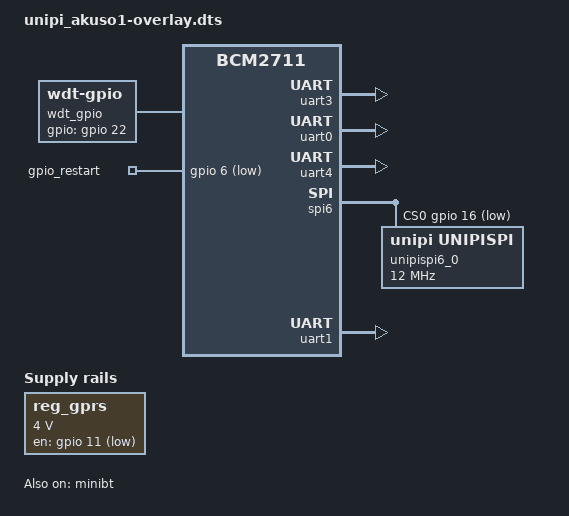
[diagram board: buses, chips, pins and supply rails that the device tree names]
/dts-v1/;
/plugin/;

/{
	compatible = "brcm,bcm2711";

	fragment@0 {
		target = <&uart3>;
		__overlay__ {
			pinctrl-names = "default";
			pinctrl-0 = <&uart3_pins>;
			status = "okay";
			linux,rs485-enabled-at-boot-time;
			uart-has-rtscts;
		};
	};

	fragment@1 {
		target = <&uart3_pins>;
		__overlay__ {
			brcm,pins = <4 5 7>;
			brcm,pull = <0 2 0>;
		};
	};

	fragment@2 {
		target = <&uart0>;
		__overlay__ {
			pinctrl-names = "default";
			pinctrl-0 = <&uart0_pins>, <&uart0_rts_pins>;
			status = "okay";
			linux,rs485-enabled-at-boot-time;
			uart-has-rtscts;
		};
	};

	fragment@3 {
		target = <&gpio>;
		__overlay__ {
			uart0_pins: uart0_ovl_pins {
				brcm,pins = <14 15>;
				brcm,function = <4>; /* alt0 */
				brcm,pull = <0 2>;
			};
			uart0_rts_pins: uart0_rts_ovl_pins {
				brcm,pins = <17>;
				brcm,function = <7>; /* alt3 */
				brcm,pull = <0>;
			};
		};
	};

	fragment@4 {
		target = <&uart4>;
		__overlay__ {
			pinctrl-names = "default";
			pinctrl-0 = <&uart4_pins>;
			status = "okay";
		};
	};

	fragment@5 {
		target = <&uart4_pins>;
		__overlay__ {
			brcm,pins = <8 9>;
			brcm,pull = <0 2>;
		};
	};

	fragment@6 {
		target = <&spi6_cs_pins>;
		__overlay__ {
			brcm,pins = <16 26>;
			brcm,function = <1 0>; // output input
			brcm,pull = <0 0>;
		};
	};

	fragment@7 {
		target = <&spi6>;
		__overlay__ {
			// needed to avoid dtc warning
			#address-cells = <1>;
			#size-cells = <0>;

			pinctrl-names = "default";
			pinctrl-0 = <&spi6_pins &spi6_cs_pins>;
			cs-gpios = <&gpio 16 1>;
			dmas = <&dma 23>, <&dma 27>;
			dma-names = "tx", "rx";
			status = "okay";

			unipispi6_0: unipispi@0 {
				compatible = "unipi,unipispi";
				reg = <0>;      // CE0
				#address-cells = <1>;
				#size-cells = <0>;
				spi-max-frequency = <12000000>;
				modbus-address = <1>;
				status = "okay";
				iogroup1: iogroup@1 {
					reg = <1>;
					compatible = "unipi,unipi-mfd", "iogroup";
					interrupt-parent = <&gpio>;
					interrupts = <26 0x1>;     // IRQ_TYPE_EDGE_RISING
					fw_variant = <0x2D10>;
					fw_name = "OEM-AKUSOLAR-1";
					board_name = "OEM-AKUSOLAR-1";
					cycle_counter = <1023>;
					//master_watchdog_enable = <6>;

					di {
						compatible = "unipi,gpio-di";
						gpio-controller;
						#gpio-cells = <2>;
						gpio-line-names = "DI1", "DI2", "DI3", "DI4";
						ngpio = <4>;
						value-reg = <0>;
						debounce-reg = <1010>;
						counter-reg = <16>;
					};
					do {
						compatible = "unipi,gpio-do";
						ngpio = <4>;
						value-coil = <0>;
						gpio-controller;
						#gpio-cells = <2>;
						gpio-line-names = "DO1", "DO2", "DO3", "DO4";
					};
					ro {
						compatible = "unipi,gpio-ro";
						ngpio = <4>;
						value-coil = <4>;
						gpio-controller;
						#gpio-cells = <2>;
						gpio-line-names = "RO1", "RO2", "RO3", "RO4";
					};
					ao_chip {
						compatible = "unipi,ao";
						io-count = <2>;
						io-value-reg = <10>;
					};
					led {
						compatible = "unipi,leds";
						coil-range = <12 6>;
						label-prefix = "unipi:green:uled-x";
					};
					sysled {
						#address-cells = <1>;
						#size-cells = <0>;
						compatible = "unipi,leds";
						coil-range = <18 9>;
						label-prefix = "unipi:green:sysled-x";
						rs485-1-txled@0 {
							reg = <0>;
							linux,default-trigger = "ttyAMA1-tx";
						};
						rs485-1-rxled@1 {
							reg = <1>;
							linux,default-trigger = "ttyAMA1-rx";
						};
						rs485-2-txled@2 {
							reg = <2>;
							linux,default-trigger = "ttyAMA0-tx";
						};
						rs485-2-rxled@3 {
							reg = <3>;
							linux,default-trigger = "ttyAMA0-rx";
						};
					};

				};
			};
		};
	};

	fragment@8 {
		target = <&gpio>;
		__overlay__ {
			reg_gprs_pins: reg-gprs-pins {
				brcm,pins = <11>;
				brcm,function = <1>; // out
				brcm,pull = <0>; // off
			};
		};
	};

	fragment@9 {
		target-path = "/";
		__overlay__ {
			reg_gprs: regulator-gprs {
				pinctrl-names = "default";
				pinctrl-0 = <&reg_gprs_pins>;
				compatible = "regulator-fixed";
				regulator-name = "vdd_gprs";
				gpio = <&gpio 11 1>;
				//enable-active-low;
				regulator-min-microvolt = <4000000>;
				regulator-max-microvolt = <4000000>;
			};
			unipi-gprs {
				compatible = "unipi-consumer";
				regulator-name = "gprs-consumer";
				regulator-boot-on;
				regulator-supplies = "vdd_gprs";
			};
		};
	};

	fragment@10 {
		target = <&bt>;
		__overlay__ {
			status = "disabled";
		};
	};

	fragment@11 {
		target = <&uart1>;
		__overlay__ {
			pinctrl-names = "default";
			pinctrl-0 = <&uart1_pins &bt_pins &fake_bt_cts>;
			status = "okay";
		};
	};

	fragment@12 {
		target = <&uart1_pins>;
		__overlay__ {
			brcm,pins = <32 33>;
			brcm,function = <2>; /* alt5=UART1 */
			brcm,pull = <0 2>;
			status = "okay";
		};
	};

	fragment@13 {
		target = <&gpio>;
		__overlay__ {
			fake_bt_cts: fake_bt_cts {
				brcm,pins = <31>;
				brcm,function = <1>; /* output */
			};
		};
	};

	fragment@14 {
		target-path = "/aliases";
		__overlay__ {
			serial0 = "/soc/serial@7e201000";
			serial1 = "/soc/serial@7e215040";
		};
	};

	fragment@15 {
		target = <&minibt>;
		__overlay__ {
			status = "okay";
		};
	};

	fragment@16 {
		target-path = "/";
		__overlay__ {
			wdt_gpio: wdt-gpio {
				compatible = "linux,wdt-gpio";
				//always-running;
				hw_margin_ms = <4000>;
				hw_algo = "level";
				pinctrl-names = "default";
				pinctrl-0 = <&wd_pins>;
				gpios = <&gpio 22 0>;
				status = "okay";
			};
			gpio_restart: gpio-restart {
				compatible = "gpio-restart";
				open-source;
				gpios = <&gpio 6 7>; /* GPIO_ACTIVE_LOW|GPIO_SINGLE_ENDED|GPIO_LINE_OPEN_DRAIN*/
				priority = <255>; /* <128> or <255> */
				active-delay = <100>;
				inactive-delay = <100>;
				wait-delay = <3000>;
				pinctrl-names = "default";
				pinctrl-0 = <&reset_pins>;
				status = "okay";
			};
		};
	};
	fragment@17 {
		target = <&gpio>;
		__overlay__ {
			wd_pins: wd-pins {
				brcm,pins = <22>;
				brcm,function = <1>; /* output */
			};
			reset_pins: reset-pins {
				brcm,pins = <6>;
				brcm,function = <0>; /* output */
			};
		};
	};
};

/* Bit 0 express polarity */
/*
#define GPIO_ACTIVE_HIGH 0
#define GPIO_ACTIVE_LOW 1
*/

/* Bit 1 express single-endedness */
/*
#define GPIO_PUSH_PULL 0
#define GPIO_SINGLE_ENDED 2
*/

/* Bit 2 express Open drain or open source */
/*
#define GPIO_LINE_OPEN_SOURCE 0
#define GPIO_LINE_OPEN_DRAIN 4
*/

/*
 * Open Drain/Collector is the combination of single-ended open drain interface.
 * Open Source/Emitter is the combination of single-ended open source interface.
 */
/*
#define GPIO_OPEN_DRAIN (GPIO_SINGLE_ENDED | GPIO_LINE_OPEN_DRAIN)
#define GPIO_OPEN_SOURCE (GPIO_SINGLE_ENDED | GPIO_LINE_OPEN_SOURCE)
*/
